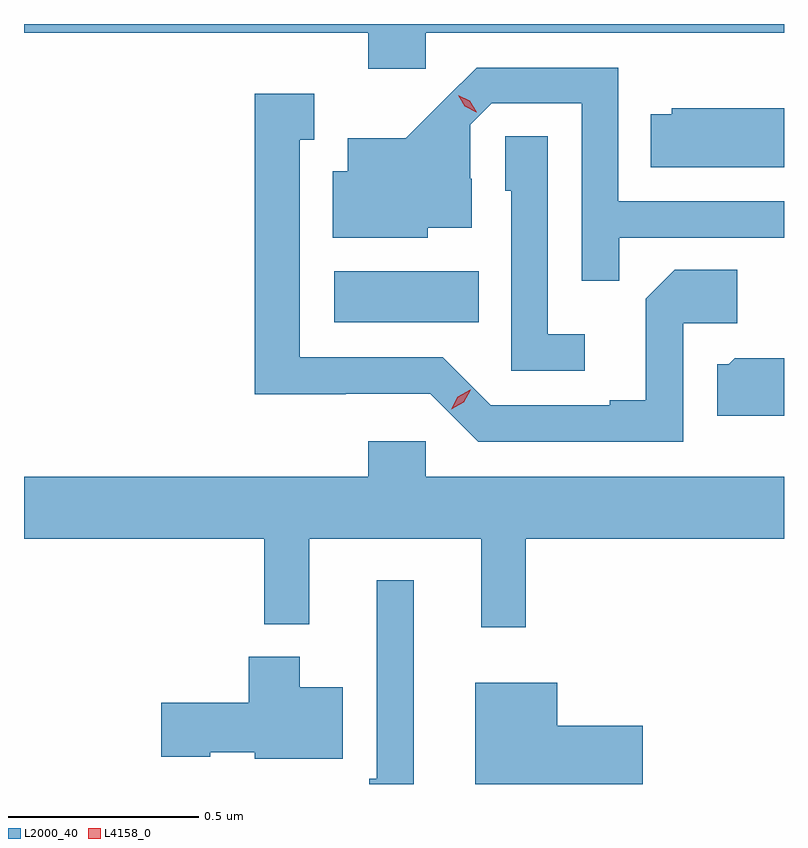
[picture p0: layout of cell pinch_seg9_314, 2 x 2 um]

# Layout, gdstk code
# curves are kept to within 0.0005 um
import gdstk
lib = gdstk.Library(unit=1e-6, precision=1e-09)
def R(c, l, rs):  # rectangles x0, y0, x1, y1
    for r in rs: c.add(gdstk.rectangle(r[:2], r[2:], *l))
def P(c, l, *ps):  # polygons
    for p in ps: c.add(gdstk.Polygon(p, *l))
L2000_40 = (2000, 40)
L4158_0 = (4158, 0)

pinch_seg9_314 = lib.new_cell('pinch_seg9_314')
R(pinch_seg9_314, L2000_40, [(610.236,1195.658,610.616,1195.792)])
P(pinch_seg9_314, L2000_40, [(611.419,1196.443),(609.419,1196.443),(609.419,1196.42),(610.325,1196.42),(610.325,1196.325),(610.476,1196.325),(610.476,1196.42),(611.419,1196.42)],
  [(610.985,1195.881),(611.419,1195.881),(611.419,1195.977),(610.983,1195.977),(610.983,1196.328),(610.61,1196.328),(610.423,1196.143),(610.271,1196.143),(610.271,1196.056),(610.232,1196.056),(610.232,1195.88),(610.482,1195.88),(610.482,1195.907),(610.597,1195.907),(610.597,1196.036),(610.593,1196.036),(610.593,1196.178),(610.65,1196.235),(610.887,1196.235),(610.887,1195.768),(610.985,1195.768)],
  [(611.154,1195.656),(611.296,1195.656),(611.296,1195.796),(611.131,1195.796),(611.055,1195.72),(611.055,1195.453),(610.961,1195.453),(610.961,1195.44),(610.647,1195.44),(610.521,1195.566),(610.144,1195.566),(610.144,1196.139),(610.183,1196.139),(610.183,1196.26),(610.026,1196.26),(610.026,1195.469),(610.266,1195.469),(610.266,1195.47),(610.488,1195.47),(610.614,1195.344),(611.154,1195.344)],
  [(611.419,1196.221),(611.124,1196.221),(611.124,1196.206),(611.068,1196.206),(611.068,1196.066),(611.419,1196.066)],
  [(610.894,1195.627),(610.797,1195.627),(610.797,1196.147),(610.686,1196.147),(610.686,1196.004),(610.701,1196.004),(610.701,1195.53),(610.894,1195.53)],
  [(611.419,1195.564),(611.29,1195.564),(611.274,1195.548),(611.243,1195.548),(611.243,1195.412),(611.419,1195.412)],
  [(610.622,1194.855),(610.739,1194.855),(610.739,1195.088),(611.419,1195.088),(611.419,1195.252),(610.476,1195.252),(610.476,1195.345),(610.325,1195.345),(610.325,1195.252),(609.419,1195.252),(609.419,1195.088),(610.051,1195.088),(610.051,1194.863),(610.169,1194.863),(610.169,1195.088),(610.622,1195.088)],
  [(610.444,1194.979),(610.347,1194.979),(610.347,1194.457),(610.327,1194.457),(610.327,1194.443),(610.444,1194.443)],
  [(610.258,1194.697),(610.144,1194.697),(610.144,1194.778),(610.01,1194.778),(610.01,1194.657),(609.78,1194.657),(609.78,1194.515),(609.909,1194.515),(609.909,1194.527),(610.026,1194.527),(610.026,1194.509),(610.258,1194.509)],
  [(611.047,1194.596),(610.822,1194.596),(610.822,1194.709),(610.607,1194.709),(610.607,1194.443),(611.047,1194.443)])
P(pinch_seg9_314, L4158_0, [(610.543,1195.429),(610.543,1195.429),(610.561,1195.462),(610.593,1195.48),(610.594,1195.48),(610.594,1195.48),(610.576,1195.448),(610.543,1195.429)],
  [(610.609,1196.211),(610.579,1196.226),(610.562,1196.256),(610.562,1196.256),(610.562,1196.256),(610.592,1196.241),(610.61,1196.211),(610.61,1196.211)])

lib.write_gds('pinch_seg9_314.gds')
